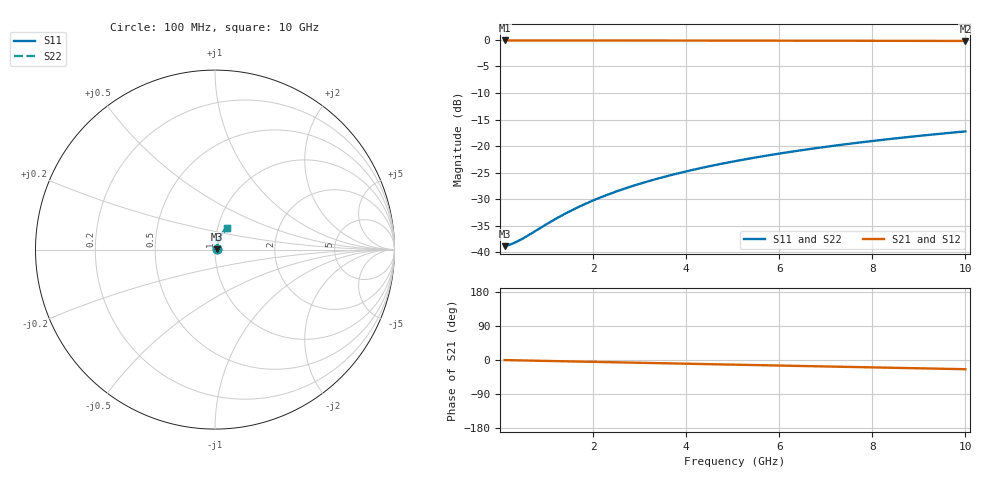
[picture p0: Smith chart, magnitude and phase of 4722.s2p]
# Hz S RI R 50.00
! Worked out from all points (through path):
!   100 points, 100 MHz to 10 GHz, reference 50 ohm
!   highest |S21| = -0.10 dB at 100 MHz (marker M1); lowest = -0.2 dB at 10 GHz (marker M2)
!   group delay of S21, straight-line fit = 6.75 ps
!   lowest |S11| = -38.8 dB at 100 MHz (marker M3), VSWR 1.02, Z = 51.2 + j0.141 ohm
!   |S11| at or under -10 dB: start of sweep to end of sweep
!   |S22| runs from -38.8 to -17.2 dB; largest |S21 - S12| = 0
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1e8  0.0114 0.00138  0.9886 -0.00422  0.9886 -0.00422  0.0114 0.00138
2e8  0.0115 0.00275  0.9885 -0.00843  0.9885 -0.00843  0.0115 0.00275
3e8  0.0116 0.00413  0.9884 -0.0126  0.9884 -0.0126  0.0116 0.00413
4e8  0.0116 0.0055  0.9883 -0.0169  0.9883 -0.0169  0.0116 0.0055
6e8  0.0118 0.00825  0.988 -0.0253  0.988 -0.0253  0.0118 0.00825
1e9  0.0123 0.0137  0.9873 -0.0421  0.9873 -0.0421  0.0123 0.0137
1.3e9  0.0128 0.0178  0.9865 -0.0548  0.9865 -0.0548  0.0128 0.0178
1.5e9  0.0131 0.0206  0.9859 -0.0632  0.9859 -0.0632  0.0131 0.0206
1.8e9  0.0138 0.0246  0.9849 -0.0757  0.9849 -0.0757  0.0138 0.0246
2.1e9  0.0145 0.0287  0.9837 -0.0883  0.9837 -0.0883  0.0145 0.0287
2.5e9  0.0156 0.0341  0.9818 -0.105  0.9818 -0.105  0.0156 0.0341
2.9e9  0.0169 0.0394  0.9796 -0.1217  0.9796 -0.1217  0.0169 0.0394
3.4e9  0.0188 0.046  0.9764 -0.1425  0.9764 -0.1425  0.0188 0.046
3.8e9  0.0205 0.0512  0.9735 -0.159  0.9735 -0.159  0.0205 0.0512
4.2e9  0.0224 0.0563  0.9703 -0.1755  0.9703 -0.1755  0.0224 0.0563
4.6e9  0.0245 0.0614  0.9668 -0.1919  0.9668 -0.1919  0.0245 0.0614
5.1e9  0.0273 0.0677  0.962 -0.2123  0.962 -0.2123  0.0273 0.0677
5.9e9  0.0323 0.0774  0.9534 -0.2445  0.9534 -0.2445  0.0323 0.0774
6.7e9  0.038 0.0867  0.9436 -0.2764  0.9436 -0.2764  0.038 0.0867
7.5e9  0.0443 0.0955  0.9326 -0.3078  0.9326 -0.3078  0.0443 0.0955
8.4e9  0.052 0.105  0.919 -0.3425  0.919 -0.3425  0.052 0.105
1e10  0.0674 0.1201  0.8915 -0.4023  0.8915 -0.4023  0.0674 0.1201
